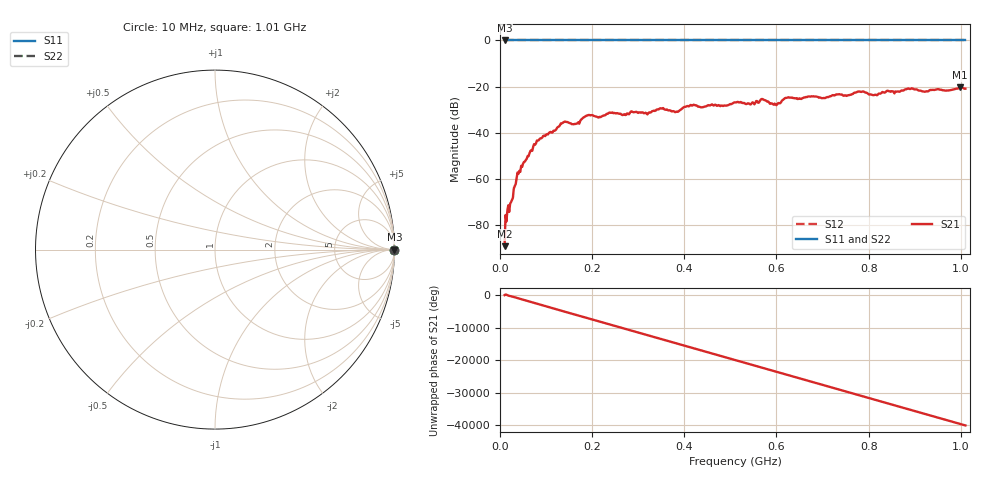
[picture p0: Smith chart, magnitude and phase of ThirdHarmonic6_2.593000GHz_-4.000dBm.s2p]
! 8/17/2025 5:33:50 AM
! C:\ANRITSUVNA\TEMP\TEMP.S2P
! CHANNEL.1
! TR.MEASUREMENT
! RAW.DATA
! RF.CORRECTION.OFF
! AVERAGING.OFF
! IF.BANDWIDTH: 5KHZ
! SWEEPTYPE:  FREQ.SWEEP(Linear)
! Reference Plane Port Info
! PORT:  PORT1  PORT2
! DISTANCE:  0  m  0  m
! TIME:  0  s  0  s
! PHASE.OFFSET:  0  deg.  0  deg.
! LOSS:  0  dB  0  dB
! REF.LOSS:  0  dB  0  dB
! REF.FREQ:  0  Hz  0  Hz
! Power Info
! POWER:  -20  dBm  -20  dBm
! EFF.POWER:  -20  dBm  -20  dBm
! SOURCE.ATTEN:  0  dB  0  dB
! TEST.ATTEN:  0  dB  0  dB
# GHZ S RI R 50.0
! FREQ.GHZ  S11RE  S11IM  S21RE  S21IM  S12RE  S12IM  S22RE  S22IM
!; PortSelection: Port_12
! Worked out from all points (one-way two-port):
!   501 points, 10 MHz to 1.01 GHz, reference 50 ohm
!   highest |S21| = -20.36 dB at 998 MHz (marker M1); lowest = -89.1 dB at 10 MHz (marker M2)
!   lowest |S11| = 0.0 dB at 10 MHz (marker M3)
!   |S11| at or under -10 dB: nowhere
!   |S22| runs from 0.0 to 0.0 dB; largest |S21 - S12| = 1.1
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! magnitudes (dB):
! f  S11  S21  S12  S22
! 10 MHz  0.0  -89.1  0.0  0.0
! 24 MHz  0.0  -70.0  0.0  0.0
! 34 MHz  0.0  -62.3  0.0  0.0
! 42 MHz  0.0  -56.5  0.0  0.0
! 78 MHz  0.0  -44.7  0.0  0.0
! 136 MHz  0.0  -35.7  0.0  0.0
! 164 MHz  0.0  -36.2  0.0  0.0
! 178 MHz  0.0  -33.9  0.0  0.0
! 344 MHz  0.0  -29.9  0.0  0.0
! 384 MHz  0.0  -30.8  0.0  0.0
! 416 MHz  0.0  -28.2  0.0  0.0
! 510 MHz  0.0  -26.8  0.0  0.0
! 548 MHz  0.0  -26.8  0.0  0.0
! 570 MHz  0.0  -25.4  0.0  0.0
! 598 MHz  0.0  -27.8  0.0  0.0
! 622 MHz  0.0  -24.9  0.0  0.0
! 678 MHz  0.0  -24.2  0.0  0.0
! 780 MHz  0.0  -22.1  0.0  0.0
! 814 MHz  0.0  -23.5  0.0  0.0
! 844 MHz  0.0  -22.0  0.0  0.0
! 998 MHz  0.0  -20.4  0.0  0.0
! 1.01 GHz  0.0  -20.9  0.0  0.0
